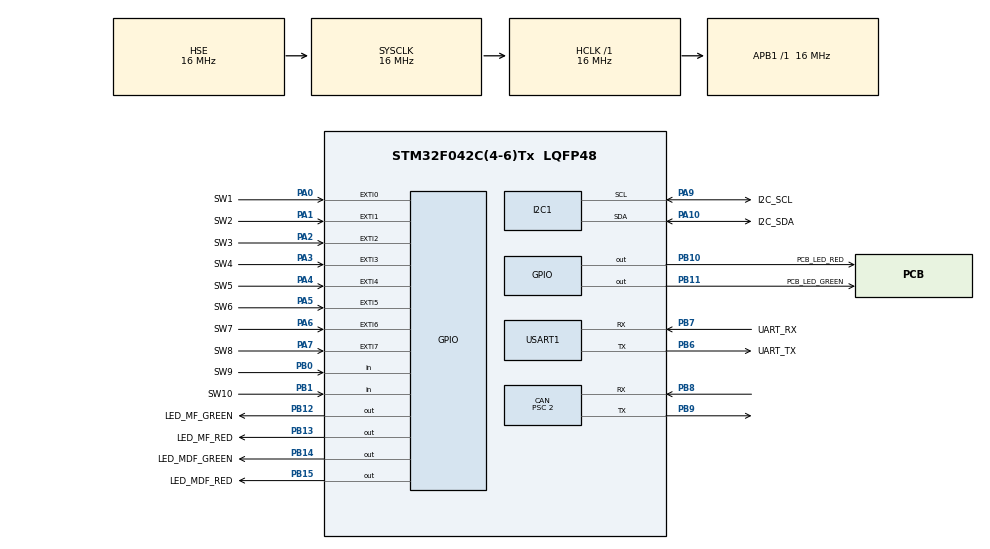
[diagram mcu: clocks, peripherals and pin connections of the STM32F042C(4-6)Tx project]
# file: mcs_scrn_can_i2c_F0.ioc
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CAN.BS1=CAN_BS1_13TQ
CAN.BS2=CAN_BS2_2TQ
CAN.CalculateBaudRate=500000
CAN.CalculateTimeBit=2000
CAN.CalculateTimeQuantum=125.0
CAN.Prescaler=2
Mcu.Family=STM32F0
Mcu.Name=STM32F042C(4-6)Tx
Mcu.Package=LQFP48
NVIC.CEC_CAN_IRQn=true\:0\:0\:false\:false\:true\:true\:true\:true
NVIC.EXTI0_1_IRQn=true\:3\:0\:true\:false\:true\:true\:true\:true
NVIC.EXTI2_3_IRQn=true\:3\:0\:true\:false\:true\:true\:true\:true
NVIC.EXTI4_15_IRQn=true\:3\:0\:true\:false\:true\:true\:true\:true
NVIC.I2C1_IRQn=true\:0\:0\:false\:false\:true\:true\:true\:true
NVIC.TIM14_IRQn=true\:0\:0\:false\:false\:true\:true\:true\:true
NVIC.TIM16_IRQn=true\:0\:0\:false\:false\:true\:true\:true\:true
PA0.GPIO_Label=SW1
PA0.GPIO_ModeDefaultEXTI=GPIO_MODE_IT_RISING_FALLING
PA0.GPIO_PuPd=GPIO_PULLUP
PA0.Signal=GPXTI0
PA1.GPIO_Label=SW2
PA1.GPIO_ModeDefaultEXTI=GPIO_MODE_IT_RISING_FALLING
PA1.GPIO_PuPd=GPIO_PULLUP
PA1.Signal=GPXTI1
PA10.GPIO_Label=I2C_SDA
PA10.Mode=I2C
PA10.Signal=I2C1_SDA
PA13.Mode=Serial_Wire
PA13.Signal=SYS_SWDIO
PA14.Mode=Serial_Wire
PA14.Signal=SYS_SWCLK
PA2.GPIO_Label=SW3
PA2.GPIO_ModeDefaultEXTI=GPIO_MODE_IT_RISING_FALLING
PA2.GPIO_PuPd=GPIO_PULLUP
PA2.Signal=GPXTI2
PA3.GPIO_Label=SW4
PA3.GPIO_ModeDefaultEXTI=GPIO_MODE_IT_RISING_FALLING
PA3.GPIO_PuPd=GPIO_PULLUP
PA3.Signal=GPXTI3
PA4.GPIO_Label=SW5
PA4.GPIO_ModeDefaultEXTI=GPIO_MODE_IT_RISING_FALLING
PA4.GPIO_PuPd=GPIO_PULLUP
PA4.Signal=GPXTI4
PA5.GPIO_Label=SW6
PA5.GPIO_ModeDefaultEXTI=GPIO_MODE_IT_RISING_FALLING
PA5.GPIO_PuPd=GPIO_PULLUP
PA5.Signal=GPXTI5
PA6.GPIO_Label=SW7
PA6.GPIO_ModeDefaultEXTI=GPIO_MODE_IT_RISING_FALLING
PA6.GPIO_PuPd=GPIO_PULLUP
PA6.Signal=GPXTI6
PA7.GPIO_Label=SW8
PA7.GPIO_ModeDefaultEXTI=GPIO_MODE_IT_RISING_FALLING
PA7.GPIO_PuPd=GPIO_PULLUP
PA7.Signal=GPXTI7
PA9.GPIO_Label=I2C_SCL
PA9.Mode=I2C
PA9.Signal=I2C1_SCL
PB0.GPIO_Label=SW9
PB0.Signal=GPIO_Input
PB1.GPIO_Label=SW10
PB1.Signal=GPIO_Input
PB10.GPIO_Label=PCB_LED_RED
PB10.Signal=GPIO_Output
PB11.GPIO_Label=PCB_LED_GREEN
PB11.Signal=GPIO_Output
PB12.GPIO_Label=LED_MF_GREEN
PB12.Signal=GPIO_Output
PB13.GPIO_Label=LED_MF_RED
PB13.Signal=GPIO_Output
PB14.GPIO_Label=LED_MDF_GREEN
PB14.Signal=GPIO_Output
PB15.GPIO_Label=LED_MDF_RED
PB15.Signal=GPIO_Output
PB6.GPIO_Label=UART_TX
PB6.Mode=Asynchronous
PB6.Signal=USART1_TX
PB7.GPIO_Label=UART_RX
PB7.Mode=Asynchronous
PB7.Signal=USART1_RX
PB8.Mode=CAN_Activate
PB8.Signal=CAN_RX
PB9.Mode=CAN_Activate
PB9.Signal=CAN_TX
PF0-OSC_IN.Mode=HSE-External-Oscillator
PF0-OSC_IN.Signal=RCC_OSC_IN
PF1-OSC_OUT.Mode=HSE-External-Oscillator
PF1-OSC_OUT.Signal=RCC_OSC_OUT
ProjectManager.HeapSize=0x200
ProjectManager.StackSize=0x400
ProjectManager.TargetToolchain=STM32CubeIDE
RCC.AHBFreq_Value=16000000
RCC.APB1Freq_Value=16000000
RCC.APB1TimFreq_Value=16000000
RCC.HCLKFreq_Value=16000000
RCC.HSE_VALUE=16000000
RCC.PLLSourceVirtual=RCC_PLLSOURCE_HSE
RCC.SYSCLKFreq_VALUE=16000000
RCC.SYSCLKSource=RCC_SYSCLKSOURCE_HSE
TIM14.Period=99
TIM14.Prescaler=1599
TIM16.Period=199
TIM16.Prescaler=1599
USART1.VirtualMode-Asynchronous=VM_ASYNC
VP_TIM14_VS_ClockSourceINT.Mode=Enable_Timer
VP_TIM16_VS_ClockSourceINT.Mode=Enable_Timer
board=custom

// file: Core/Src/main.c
/* USER CODE BEGIN Header */
/**
  ******************************************************************************
  * @file           : main.c
  * @brief          : Main program body
  ******************************************************************************
  * @attention
  *
  * Copyright (c) 2022 STMicroelectronics.
  * All rights reserved.
  *
  * This software is licensed under terms that can be found in the LICENSE file
  * in the root directory of this software component.
  * If no LICENSE file comes with this software, it is provided AS-IS.
  *
  ******************************************************************************
  */
/* USER CODE END Header */
#include "main.h"
#include "can.h"
#include "i2c.h"
#include "tim.h"
#include "usart.h"
#include "gpio.h"

/* USER CODE BEGIN Includes */
#include "can_config.h"
#include "i2c_config.h"
/* USER CODE END Includes */

/* USER CODE BEGIN PTD */
bool var = false;
bool print = false;
bool confirm_button = false;
bool PLUS_button_State;

uint8_t CAN_temp1_value = 0;
uint8_t CAN_temp2_value = 0;
uint8_t CAN_temp3_value = 0;
uint8_t CAN_temp4_value = 0;
uint8_t CAN_temp5_value = 0;

static uint8_t I2Cdata[2] = {0, 0};
static uint16_t I2Csize = 2;
#define slave_addr 0x01

extern uint32_t TxMailbox;
extern CAN_TxHeaderTypeDef TxHeader;
#define MCS_MAIN_ADDR 0x020Au

uint8_t CAN_message_active = 0;

/* USER CODE END PTD */

/* USER CODE BEGIN PM */

uint8_t SW_lock = 0;

void HAL_GPIO_EXTI_Callback(uint16_t GPIO_Pin)
{
	if(!SW_lock && GPIO_Pin == SW1_Pin)
	{
		SW_lock = 1;
		HAL_TIM_Base_Start_IT(&htim14);
		HAL_GPIO_TogglePin(PCB_LED_GREEN_GPIO_Port, PCB_LED_GREEN_Pin);

		I2Cdata[MSG_ID] = P2D_I2C_ID;
		I2Cdata[MSG_VALUE] = 1;
		HAL_I2C_Master_Transmit_IT(&hi2c1, slave_addr, I2Cdata, I2Csize);
	}

	else if(!SW_lock && GPIO_Pin == SW2_Pin)
	{
		SW_lock = 1;
		HAL_TIM_Base_Start_IT(&htim14);
		HAL_GPIO_TogglePin(PCB_LED_GREEN_GPIO_Port, PCB_LED_GREEN_Pin);

		I2Cdata[MSG_ID] = TS_I2C_ID;
		I2Cdata[MSG_VALUE] = 1;
		HAL_I2C_Master_Transmit_IT(&hi2c1, slave_addr, I2Cdata, I2Csize);
	}

	else if(!SW_lock && GPIO_Pin == SW3_Pin)
	{
		SW_lock = 1;
		HAL_TIM_Base_Start_IT(&htim14);
		HAL_GPIO_TogglePin(PCB_LED_GREEN_GPIO_Port, PCB_LED_GREEN_Pin);
	}

	else if(!SW_lock && GPIO_Pin == SW4_Pin)
	{
		SW_lock = 1;
		HAL_TIM_Base_Start_IT(&htim14);
		HAL_GPIO_TogglePin(PCB_LED_GREEN_GPIO_Port, PCB_LED_GREEN_Pin);
	}

	else if(!SW_lock && GPIO_Pin == SW5_Pin)
	{
		SW_lock = 1;
		HAL_TIM_Base_Start_IT(&htim14);
		HAL_GPIO_TogglePin(PCB_LED_GREEN_GPIO_Port, PCB_LED_GREEN_Pin);
	}

	else if(!SW_lock && GPIO_Pin == SW6_Pin)
	{
		SW_lock = 1;
		HAL_TIM_Base_Start_IT(&htim14);
		HAL_GPIO_TogglePin(PCB_LED_GREEN_GPIO_Port, PCB_LED_GREEN_Pin);
	}

	else if(!SW_lock && GPIO_Pin == SW7_Pin)
	{
		SW_lock = 1;
		HAL_TIM_Base_Start_IT(&htim14);
		HAL_GPIO_TogglePin(PCB_LED_GREEN_GPIO_Port, PCB_LED_GREEN_Pin);
	}

	else if(!SW_lock && GPIO_Pin == SW8_Pin)
	{
		SW_lock = 1;
		HAL_TIM_Base_Start_IT(&htim14);
		HAL_GPIO_TogglePin(PCB_LED_GREEN_GPIO_Port, PCB_LED_GREEN_Pin);
	}
}

void HAL_TIM_PeriodElapsedCallback(TIM_HandleTypeDef *htim)
{
	if(SW_lock == 1 && htim == &htim14
	&& HAL_GPIO_ReadPin(SW1_GPIO_Port, SW1_Pin)
	&& HAL_GPIO_ReadPin(SW2_GPIO_Port, SW2_Pin)
	&& HAL_GPIO_ReadPin(SW2_GPIO_Port, SW3_Pin)
	&& HAL_GPIO_ReadPin(SW2_GPIO_Port, SW4_Pin)
	&& HAL_GPIO_ReadPin(SW2_GPIO_Port, SW5_Pin)
	&& HAL_GPIO_ReadPin(SW2_GPIO_Port, SW6_Pin)
	&& HAL_GPIO_ReadPin(SW2_GPIO_Port, SW7_Pin)
	&& HAL_GPIO_ReadPin(SW2_GPIO_Port, SW8_Pin))
	{
		SW_lock = 0;
		HAL_TIM_Base_Stop_IT(&htim14);
	}
}
/* USER CODE END PM */

void SystemClock_Config(void);

int main(void)
{

  /* MCU Configuration--------------------------------------------------------*/

  /* Reset of all peripherals, Initializes the Flash interface and the Systick. */
  HAL_Init();

  /* Configure the system clock */
  SystemClock_Config();

  /* Initialize all configured peripherals */
  MX_GPIO_Init();
  MX_CAN_Init();
  MX_I2C1_Init();
  MX_USART1_UART_Init();
  MX_TIM14_Init();
  MX_TIM16_Init();
  /* USER CODE BEGIN 2 */

  CAN_Init();

  TxHeader.StdId = MCS_MAIN_ADDR;
  /* USER CODE END 2 */

  /* Infinite loop */
  /* USER CODE BEGIN WHILE */

  //for(uint8_t i = 0; i < 10; i++)
  //{
//	  HAL_GPIO_TogglePin(PCB_LED_RED_GPIO_Port, PCB_LED_RED_Pin);
//	  HAL_Delay(60);
 // }

/*
  HAL_I2C_Master_Transmit(&hi2c1, slave_addr, &I2C_status, data_size, HAL_MAX_DELAY);
  //SLAVE MUSI MIEĆ ZASILANIE W MOMENCIE WYWO�?ANIA TEJ FUNKCJI, INACZEJ PROGRAM PÓJDZIE DALEJ
  HAL_Delay(200);
  HAL_TIM_Base_Start_IT(&htim14);
*/

//  uint8_t CANdata[2] = {0, 0};
//  uint16_t CANsize = 2;
	  HAL_GPIO_WritePin(LED_MF_GREEN_GPIO_Port, LED_MF_GREEN_Pin, GPIO_PIN_SET);
	  HAL_GPIO_WritePin(LED_MF_RED_GPIO_Port, LED_MF_RED_Pin, GPIO_PIN_SET);
	  HAL_GPIO_WritePin(LED_MDF_GREEN_GPIO_Port, LED_MDF_GREEN_Pin, GPIO_PIN_SET);
	  HAL_GPIO_WritePin(LED_MDF_RED_GPIO_Port, LED_MDF_RED_Pin, GPIO_PIN_SET);
	  HAL_Delay(500);
	  HAL_GPIO_WritePin(LED_MF_GREEN_GPIO_Port, LED_MF_GREEN_Pin, GPIO_PIN_RESET);
	  HAL_GPIO_WritePin(LED_MF_RED_GPIO_Port, LED_MF_RED_Pin, GPIO_PIN_RESET);
	  HAL_GPIO_WritePin(LED_MDF_GREEN_GPIO_Port, LED_MDF_GREEN_Pin, GPIO_PIN_RESET);
	  HAL_GPIO_WritePin(LED_MDF_RED_GPIO_Port, LED_MDF_RED_Pin, GPIO_PIN_RESET);

  while (1)
  {

//		  HAL_GPIO_TogglePin(PCB_LED_GREEN_GPIO_Port, PCB_LED_GREEN_Pin);
//		  HAL_Delay(100);

//	  if(var == true)
//	  {
//	  CANdata = 1;
//  	  HAL_I2C_Master_Transmit(&hi2c1, slave_addr, &CANdata, CANsize, HAL_MAX_DELAY);
//  	  var = false;
//	  CANdata = 0;
//	  for(uint8_t i = 0; i < 6; i++)
//		  {
//		  	  HAL_GPIO_TogglePin(PCB_LED_GREEN_GPIO_Port, PCB_LED_GREEN_Pin);
//		  	  HAL_Delay(50);
//		  }
//	  }
//
//	  if(print == true)
//	  {
//	  CANdata = 2;
//  	  HAL_I2C_Master_Transmit(&hi2c1, slave_addr, &CANdata, CANsize, HAL_MAX_DELAY);
//  	  print = false;
//	  CANdata = 0;
//	  for(uint8_t i = 0; i < 6; i++)
//		  {
//		  	  HAL_GPIO_TogglePin(PCB_LED_GREEN_GPIO_Port, PCB_LED_GREEN_Pin);
//		  	  HAL_Delay(50);
//		  }
//	  }

//	  if(map_value_active == true)
//	  {
//		  CANdata[0] = 0x05;
//		  CANdata[1] = can_map_value;
//		  HAL_I2C_Master_Transmit_IT(&hi2c1, slave_addr, CANdata, CANsize);
//		  map_value_active = false;
//		  HAL_GPIO_TogglePin(PCB_LED_RED_GPIO_Port, PCB_LED_RED_Pin);
//	  }

//	  if(tc_value_active == true)
//	  {
//		  CANdata[0] = 0x04;
//		  CANdata[1] = can_tc_value;
//		  HAL_I2C_Master_Transmit_IT(&hi2c1, slave_addr, CANdata, CANsize);
//		  tc_value_active = false;
//		  HAL_GPIO_TogglePin(PCB_LED_RED_GPIO_Port, PCB_LED_RED_Pin);
//	  }

//	  if(speed_value_active == true)
// 	  {
//	  	  CANdata[0] = 0x03;
//		  CANdata[1] = can_speed_value;
//	  	  HAL_I2C_Master_Transmit_IT(&hi2c1, slave_addr, CANdata, CANsize);
//	  	  speed_value_active = false;
//		  HAL_GPIO_TogglePin(PCB_LED_RED_GPIO_Port, PCB_LED_RED_Pin);
//	  }

//	  if(diff_value_active == true)
// 	  {
//	  	  CANdata[0] = 0x06;
//		  CANdata[1] = can_diff_value;
//	  	  HAL_I2C_Master_Transmit_IT(&hi2c1, slave_addr, CANdata, CANsize);
//	  	  diff_value_active = false;
//		  HAL_GPIO_TogglePin(PCB_LED_RED_GPIO_Port, PCB_LED_RED_Pin);
//	  }

    /* USER CODE END WHILE */

  }
}

void SystemClock_Config(void)
{
  RCC_OscInitTypeDef RCC_OscInitStruct = {0};
  RCC_ClkInitTypeDef RCC_ClkInitStruct = {0};
  RCC_PeriphCLKInitTypeDef PeriphClkInit = {0};

  /** Initializes the RCC Oscillators according to the specified parameters
  * in the RCC_OscInitTypeDef structure.
  */
  RCC_OscInitStruct.OscillatorType = RCC_OSCILLATORTYPE_HSI|RCC_OSCILLATORTYPE_HSE;
  RCC_OscInitStruct.HSEState = RCC_HSE_ON;
  RCC_OscInitStruct.HSIState = RCC_HSI_ON;
  RCC_OscInitStruct.HSICalibrationValue = RCC_HSICALIBRATION_DEFAULT;
  RCC_OscInitStruct.PLL.PLLState = RCC_PLL_NONE;
  if (HAL_RCC_OscConfig(&RCC_OscInitStruct) != HAL_OK)
  {
    Error_Handler();
  }

  /** Initializes the CPU, AHB and APB buses clocks
  */
  RCC_ClkInitStruct.ClockType = RCC_CLOCKTYPE_HCLK|RCC_CLOCKTYPE_SYSCLK
                              |RCC_CLOCKTYPE_PCLK1;
  RCC_ClkInitStruct.SYSCLKSource = RCC_SYSCLKSOURCE_HSE;
  RCC_ClkInitStruct.AHBCLKDivider = RCC_SYSCLK_DIV1;
  RCC_ClkInitStruct.APB1CLKDivider = RCC_HCLK_DIV1;

  if (HAL_RCC_ClockConfig(&RCC_ClkInitStruct, FLASH_LATENCY_0) != HAL_OK)
  {
    Error_Handler();
  }
  PeriphClkInit.PeriphClockSelection = RCC_PERIPHCLK_USART1|RCC_PERIPHCLK_I2C1;
  PeriphClkInit.Usart1ClockSelection = RCC_USART1CLKSOURCE_PCLK1;
  PeriphClkInit.I2c1ClockSelection = RCC_I2C1CLKSOURCE_HSI;
  if (HAL_RCCEx_PeriphCLKConfig(&PeriphClkInit) != HAL_OK)
  {
    Error_Handler();
  }
}

void Error_Handler(void)
{
  __disable_irq();
  while (1)
  {
  }
}
